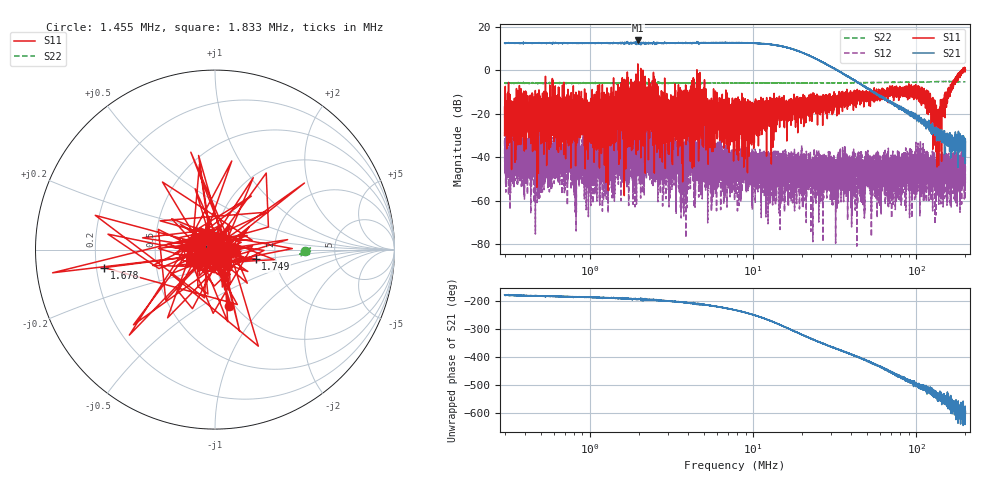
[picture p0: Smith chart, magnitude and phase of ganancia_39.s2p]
# Hz S DB R 50
! CMT, M5065, 19127446, 24.2.4/2
! Date: 11/1/2024 4:38:01 PM
! Data: Format (Calibration Info)
! Freq	S11:dB/Ang(F2)	S21:dB/Ang(F2)	S12:dB/Ang(F2)	S22:dB/Ang(F2)
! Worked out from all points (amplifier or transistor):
!   9000 points, 300 kHz to 200 MHz, reference 50 ohm
!   highest |S21| = 13.7 dB at 1.966 MHz (marker M1)
!   |S21| within 3 dB of that: start of sweep to 15.52 MHz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
!   unconditionally stable (mu >= 1): start of sweep to 1.965 MHz; 2.287 MHz to 4.524 MHz; 4.529 MHz to 189.5 MHz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
!   at 886.8 kHz: K = 28.68, MAG = 13.8 dB, |S12| = -50.3 dB
!   at 7.749 MHz: K = 7.89, MAG = 14.0 dB, |S12| = -39.4 dB
!   at 200 MHz: K = -135.77, MSG = 4.0 dB, |S12| = -40.7 dB
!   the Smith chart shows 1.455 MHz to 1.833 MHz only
!   S11 on the Smith chart (normalised r, x): 1.455 MHz: 0.94, -0.67; 1.678 MHz: 0.23, -0.08; 1.749 MHz: 1.57, -0.17; 1.833 MHz: 0.95, +0.03
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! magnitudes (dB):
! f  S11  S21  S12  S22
! 300 kHz  -16.9  12.5  -32.1  -5.8
! 323.9 kHz  -25.0  12.5  -63.9  -5.9
! 648.1 kHz  -7.9  12.4  -43.6  -5.9
! 886.8 kHz  -23.5  12.4  -50.3  -5.9
! 1.255 MHz  -22.4  12.6  -42.7  -5.9
! 1.455 MHz  -9.7  12.5  -39.5  -6.0
! 1.678 MHz  -4.1  13.0  -51.4  -5.9
! 1.749 MHz  -12.7  12.3  -46.9  -5.9
! 1.833 MHz  -30.7  12.5  -56.1  -5.9
! 1.966 MHz  2.9  13.7  -32.8  -6.0
! 2.621 MHz  -20.7  12.5  -36.6  -5.9
! 3.093 MHz  -23.9  12.6  -40.9  -5.8
! 3.943 MHz  -11.6  12.3  -55.7  -5.9
! 7.749 MHz  -20.8  12.6  -39.4  -5.8
! 13.98 MHz  -19.2  11.5  -47.0  -5.9
! 22.91 MHz  -18.0  6.2  -42.4  -5.8
! 67.71 MHz  -9.4  -14.2  -49.3  -5.6
! 109.6 MHz  -11.6  -22.7  -43.7  -5.4
! 122.1 MHz  -16.0  -25.6  -46.5  -5.3
! 136.3 MHz  -26.8  -27.4  -40.6  -5.2
! 160.9 MHz  -8.7  -31.7  -44.1  -5.2
! 200 MHz  0.3  -32.7  -40.7  -5.3
